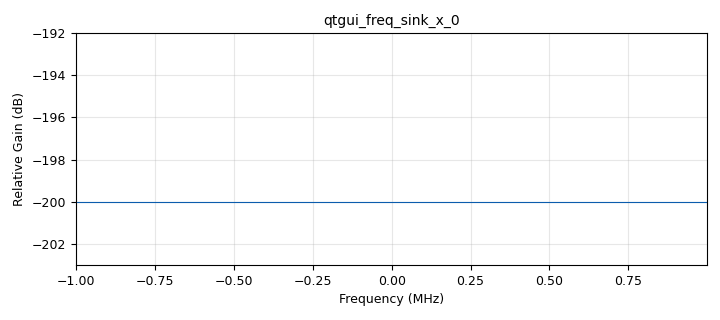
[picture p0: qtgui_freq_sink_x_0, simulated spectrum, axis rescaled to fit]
options:
  parameters:
    author: sohamvhatkar
    generate_options: qt_gui
    id: txmain
    output_language: python
    title: Not titled yet
  states: {}

blocks:
- name: ifgain
  id: variable_qtgui_range
  parameters:
    start: '20'
    step: '1'
    stop: '47'
    value: '20'
  states: {}
- name: rfgain
  id: variable_qtgui_range
  parameters:
    start: '0'
    step: '1'
    stop: '20'
    value: '20'
  states: {}
- name: samp_rate
  id: variable
  parameters:
    value: 2e6
  states: {}
- name: analog_sig_source_x_0
  id: analog_sig_source_x
  parameters:
    amp: '1'
    freq: 20e3
    offset: '0'
    phase: '0'
    samp_rate: samp_rate
    type: complex
    waveform: analog.GR_COS_WAVE
  states: {}
- name: blocks_multiply_xx_0
  id: blocks_multiply_xx
  parameters:
    type: complex
  states: {}
- name: blocks_repeat_0
  id: blocks_repeat
  parameters:
    interp: '4000'
    type: complex
  states: {}
- name: blocks_vector_source_x_0
  id: blocks_vector_source_x
  parameters:
    repeat: 'True'
    type: complex
    vector: (1,0,1,0,1,0,1,0,1,1,1,0,0,1,0,1,0,1,0,1,1,1,0,0,0,1)
  states: {}
- name: osmosdr_sink_0
  id: osmosdr_sink
  parameters:
    args: hackrf=0
    bb_gain0: '20'
    freq0: 120e6
    gain0: '10'
    if_gain0: '20'
    sample_rate: samp_rate
    sync: sync
    type: fc32
  states: {}
- name: qtgui_freq_sink_x_0
  id: qtgui_freq_sink_x
  parameters:
    bw: samp_rate
    fc: '0'
    fftsize: '1024'
    type: complex
  states: {}

connections:
- [analog_sig_source_x_0, '0', blocks_multiply_xx_0, '1']
- [blocks_multiply_xx_0, '0', osmosdr_sink_0, '0']
- [blocks_multiply_xx_0, '0', qtgui_freq_sink_x_0, '0']
- [blocks_repeat_0, '0', blocks_multiply_xx_0, '0']
- [blocks_vector_source_x_0, '0', blocks_repeat_0, '0']

metadata:
  file_format: 1
  grc_version: 3.10.12.0
